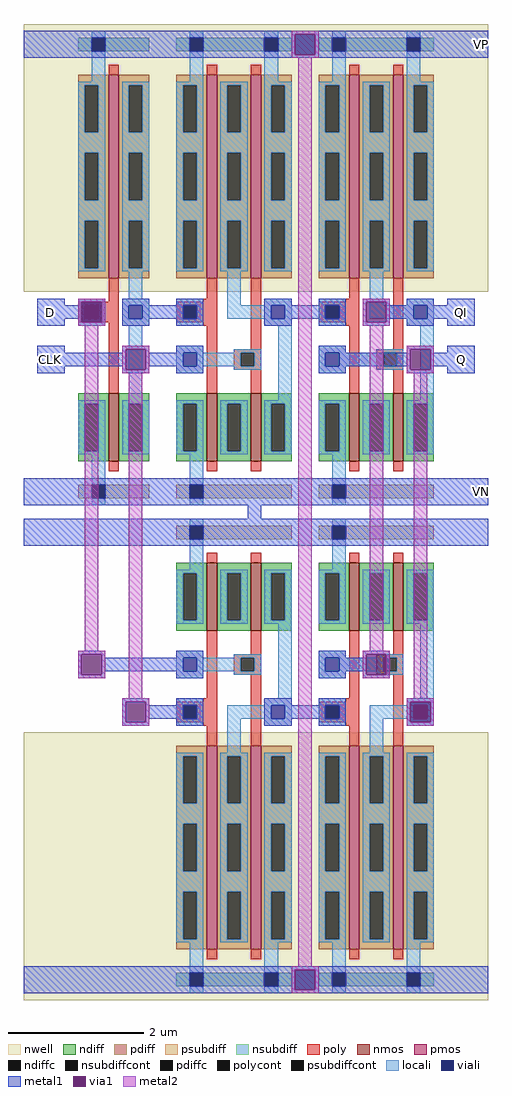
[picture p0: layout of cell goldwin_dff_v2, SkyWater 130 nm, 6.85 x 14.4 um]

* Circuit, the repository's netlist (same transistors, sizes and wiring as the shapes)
* NGSPICE file created from goldwin_dff_v2.ext - technology: sky130A

.subckt goldwin_nand_v2 A B Y VP VN
X0 Y B a_30_0# VN sky130_fd_pr__nfet_01v8 ad=0.45 pd=2.9 as=0.25 ps=1.5 w=1 l=0.15
X1 a_30_0# A VN VN sky130_fd_pr__nfet_01v8 ad=0.25 pd=1.5 as=0.45 ps=2.9 w=1 l=0.15
X2 Y A VP VP sky130_fd_pr__pfet_01v8 ad=0.75 pd=3.5 as=1.35 ps=6.9 w=3 l=0.15
X3 VP B Y VP sky130_fd_pr__pfet_01v8 ad=1.35 pd=6.9 as=0.75 ps=3.5 w=3 l=0.15
.ends

.subckt goldwin_not_v2 A Y VP VN
X0 Y A VN VN sky130_fd_pr__nfet_01v8 ad=0.45 pd=2.9 as=0.45 ps=2.9 w=1 l=0.15
X1 Y A VP VP sky130_fd_pr__pfet_01v8 ad=1.35 pd=6.9 as=1.35 ps=6.9 w=3 l=0.15
.ends

.subckt goldwin_dff_v2 D CLK Q QI VP VN
Xgoldwin_nand_v2_0 goldwin_nand_v2_1/Y QI Q VP VN goldwin_nand_v2
Xgoldwin_nand_v2_1 CLK D goldwin_nand_v2_1/Y VP VN goldwin_nand_v2
Xgoldwin_nand_v2_2 goldwin_nand_v2_3/Y Q QI VP VN goldwin_nand_v2
Xgoldwin_nand_v2_3 goldwin_not_v2_0/Y CLK goldwin_nand_v2_3/Y VP VN goldwin_nand_v2
Xgoldwin_not_v2_0 D goldwin_not_v2_0/Y VP VN goldwin_not_v2
.ends

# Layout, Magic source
magic
tech sky130A
<< nwell >>
rect -60 310 0 705
rect 565 310 625 705
rect -60 -735 145 -340
rect 565 -735 625 -340
<< metal1 >>
rect -60 655 0 695
rect 565 655 625 695
rect -40 290 0 300
rect 440 295 480 300
rect -40 270 20 290
rect -40 260 0 270
rect 125 270 165 290
rect 335 270 375 290
rect 440 265 445 295
rect 475 290 480 295
rect 565 290 605 300
rect 475 270 505 290
rect 545 270 605 290
rect 475 265 480 270
rect 440 260 480 265
rect 565 260 605 270
rect -40 220 0 230
rect 85 225 125 230
rect 85 220 90 225
rect -40 200 90 220
rect -40 190 0 200
rect 85 195 90 200
rect 120 220 125 225
rect 505 225 545 230
rect 505 220 510 225
rect 120 200 165 220
rect 415 200 510 220
rect 120 195 125 200
rect 85 190 125 195
rect 505 195 510 200
rect 540 220 545 225
rect 565 220 605 230
rect 540 200 605 220
rect 540 195 545 200
rect 505 190 545 195
rect 565 190 605 200
rect -60 -5 0 35
rect 270 -25 290 0
rect 565 -5 625 35
rect -60 -65 145 -25
rect 565 -65 625 -25
rect 20 -225 60 -220
rect 20 -255 25 -225
rect 55 -230 60 -225
rect 440 -225 480 -220
rect 440 -230 445 -225
rect 55 -250 165 -230
rect 415 -250 445 -230
rect 55 -255 60 -250
rect 20 -260 60 -255
rect 440 -255 445 -250
rect 475 -255 480 -225
rect 440 -260 480 -255
rect 85 -295 125 -290
rect 85 -325 90 -295
rect 120 -300 125 -295
rect 120 -320 165 -300
rect 335 -320 375 -300
rect 120 -325 125 -320
rect 85 -330 125 -325
rect -60 -725 145 -685
rect 565 -725 625 -685
<< via1 >>
rect 340 660 370 690
rect 25 265 55 295
rect 445 265 475 295
rect 90 195 120 225
rect 510 195 540 225
rect 25 -255 55 -225
rect 445 -255 475 -225
rect 90 -325 120 -295
rect 510 -325 540 -295
rect 340 -720 370 -690
<< metal2 >>
rect 335 690 375 695
rect 335 660 340 690
rect 370 660 375 690
rect 335 655 375 660
rect 20 295 60 300
rect 20 265 25 295
rect 55 265 60 295
rect 20 260 60 265
rect 30 -220 50 260
rect 85 225 125 230
rect 85 195 90 225
rect 120 195 125 225
rect 85 190 125 195
rect 20 -225 60 -220
rect 20 -255 25 -225
rect 55 -255 60 -225
rect 20 -260 60 -255
rect 95 -290 115 190
rect 85 -295 125 -290
rect 85 -325 90 -295
rect 120 -325 125 -295
rect 85 -330 125 -325
rect 345 -685 365 655
rect 440 295 480 300
rect 440 265 445 295
rect 475 265 480 295
rect 440 260 480 265
rect 450 -220 470 260
rect 505 225 545 230
rect 505 195 510 225
rect 540 195 545 225
rect 505 190 545 195
rect 440 -225 480 -220
rect 440 -255 445 -225
rect 475 -255 480 -225
rect 440 -260 480 -255
rect 515 -290 535 190
rect 505 -295 545 -290
rect 505 -325 510 -295
rect 540 -325 545 -295
rect 505 -330 545 -325
rect 335 -690 375 -685
rect 335 -720 340 -690
rect 370 -720 375 -690
rect 335 -725 375 -720
use goldwin_nand_v2  goldwin_nand_v2_0 ../goldwin_nand_v2
transform 1 0 420 0 -1 -90
box -65 -65 145 645
use goldwin_nand_v2  goldwin_nand_v2_1
transform 1 0 210 0 -1 -90
box -65 -65 145 645
use goldwin_nand_v2  goldwin_nand_v2_2
transform 1 0 420 0 1 60
box -65 -65 145 645
use goldwin_nand_v2  goldwin_nand_v2_3
transform 1 0 210 0 1 60
box -65 -65 145 645
use goldwin_not_v2  goldwin_not_v2_0 ../goldwin_not_v2
transform 1 0 65 0 1 60
box -65 -65 80 645
<< labels >>
flabel metal1 -40 260 0 300 1 FreeSans 200 0 0 0 D
port 1 n
flabel metal1 -40 190 0 230 1 FreeSans 200 0 0 0 CLK
port 2 n
flabel metal1 565 260 605 300 1 FreeSans 200 0 0 0 QI
port 4 n
flabel metal1 565 190 605 230 1 FreeSans 200 0 0 0 Q
port 3 n
flabel metal1 605 655 625 695 1 FreeSans 200 0 0 0 VP
port 5 n
flabel metal1 605 -5 625 35 1 FreeSans 200 0 0 0 VN
port 6 n
<< end >>

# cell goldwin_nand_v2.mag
magic
tech sky130A
<< nwell >>
rect -65 250 145 645
<< nmos >>
rect 0 0 15 100
rect 65 0 80 100
<< pmos >>
rect 0 270 15 570
rect 65 270 80 570
<< ndiff >>
rect -45 85 0 100
rect -45 15 -35 85
rect -15 15 0 85
rect -45 0 0 15
rect 15 85 65 100
rect 15 15 30 85
rect 50 15 65 85
rect 15 0 65 15
rect 80 85 125 100
rect 80 15 95 85
rect 115 15 125 85
rect 80 0 125 15
<< pdiff >>
rect -45 555 0 570
rect -45 485 -35 555
rect -15 485 0 555
rect -45 455 0 485
rect -45 385 -35 455
rect -15 385 0 455
rect -45 355 0 385
rect -45 285 -35 355
rect -15 285 0 355
rect -45 270 0 285
rect 15 555 65 570
rect 15 485 30 555
rect 50 485 65 555
rect 15 455 65 485
rect 15 385 30 455
rect 50 385 65 455
rect 15 355 65 385
rect 15 285 30 355
rect 50 285 65 355
rect 15 270 65 285
rect 80 555 125 570
rect 80 485 95 555
rect 115 485 125 555
rect 80 455 125 485
rect 80 385 95 455
rect 115 385 125 455
rect 80 355 125 385
rect 80 285 95 355
rect 115 285 125 355
rect 80 270 125 285
<< ndiffc >>
rect -35 15 -15 85
rect 30 15 50 85
rect 95 15 115 85
<< pdiffc >>
rect -35 485 -15 555
rect -35 385 -15 455
rect -35 285 -15 355
rect 30 485 50 555
rect 30 385 50 455
rect 30 285 50 355
rect 95 485 115 555
rect 95 385 115 455
rect 95 285 115 355
<< psubdiff >>
rect -45 -55 -25 -35
rect -5 -55 125 -35
<< nsubdiff >>
rect -45 605 -25 625
rect -5 605 85 625
rect 105 605 125 625
<< psubdiffcont >>
rect -25 -55 -5 -35
<< nsubdiffcont >>
rect -25 605 -5 625
rect 85 605 105 625
<< poly >>
rect 0 570 15 585
rect 65 570 80 585
rect 0 240 15 270
rect -5 235 15 240
rect -45 230 15 235
rect -45 210 -35 230
rect -15 210 15 230
rect -45 205 15 210
rect -5 200 15 205
rect 0 100 15 200
rect 65 165 80 270
rect 40 160 80 165
rect 40 140 50 160
rect 70 140 80 160
rect 40 135 80 140
rect 65 100 80 135
rect 0 -15 15 0
rect 65 -15 80 0
<< polycont >>
rect -35 210 -15 230
rect 50 140 70 160
<< locali >>
rect -25 625 -5 635
rect -25 560 -5 605
rect 85 625 105 635
rect 85 560 105 605
rect -45 555 -5 560
rect -45 485 -35 555
rect -15 485 -5 555
rect -45 455 -5 485
rect -45 385 -35 455
rect -15 385 -5 455
rect -45 355 -5 385
rect -45 285 -35 355
rect -15 285 -5 355
rect -45 280 -5 285
rect 20 555 60 560
rect 20 485 30 555
rect 50 485 60 555
rect 20 455 60 485
rect 20 385 30 455
rect 50 385 60 455
rect 20 355 60 385
rect 20 285 30 355
rect 50 285 60 355
rect 20 280 60 285
rect 85 555 125 560
rect 85 485 95 555
rect 115 485 125 555
rect 85 455 125 485
rect 85 385 95 455
rect 115 385 125 455
rect 85 355 125 385
rect 85 285 95 355
rect 115 285 125 355
rect 85 280 125 285
rect -45 230 -5 240
rect -45 210 -35 230
rect -15 210 -5 230
rect 30 230 50 280
rect 85 230 125 240
rect 30 210 95 230
rect 115 210 125 230
rect -45 200 -5 210
rect 85 200 125 210
rect -45 160 -5 170
rect 40 160 80 165
rect -45 140 -35 160
rect -15 140 50 160
rect 70 140 80 160
rect -45 130 -5 140
rect 40 135 80 140
rect 105 90 125 200
rect -45 85 -5 90
rect -45 15 -35 85
rect -15 15 -5 85
rect -45 10 -5 15
rect 20 85 60 90
rect 20 15 30 85
rect 50 15 60 85
rect 20 10 60 15
rect 85 85 125 90
rect 85 15 95 85
rect 115 15 125 85
rect 85 10 125 15
rect -25 -35 -5 10
rect -25 -65 -5 -55
<< viali >>
rect -25 605 -5 625
rect 85 605 105 625
rect -35 210 -15 230
rect 95 210 115 230
rect -35 140 -15 160
rect -25 -55 -5 -35
<< metal1 >>
rect -65 625 145 635
rect -65 605 -25 625
rect -5 605 85 625
rect 105 605 145 625
rect -65 595 145 605
rect -45 230 -5 240
rect -45 210 -35 230
rect -15 210 -5 230
rect -45 200 -5 210
rect 85 230 125 240
rect 85 210 95 230
rect 115 210 125 230
rect 85 200 125 210
rect -45 160 -5 170
rect -45 140 -35 160
rect -15 140 -5 160
rect -45 130 -5 140
rect -65 -35 145 -25
rect -65 -55 -25 -35
rect -5 -55 145 -35
rect -65 -65 145 -55
<< labels >>
flabel metal1 125 595 145 625 1 FreeSans 200 0 0 -120 VP
port 4 n
flabel metal1 125 -55 145 -25 1 FreeSans 200 0 0 -120 VN
port 5 n
flabel metal1 85 200 125 240 1 FreeSans 200 0 0 -120 Y
port 3 n
flabel metal1 -45 200 -5 240 1 FreeSans 200 0 0 -120 A
port 1 n
flabel metal1 -45 130 -5 170 1 FreeSans 200 0 0 -120 B
port 2 n
<< end >>

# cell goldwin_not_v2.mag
magic
tech sky130A
<< nwell >>
rect -65 250 80 645
<< nmos >>
rect 0 0 15 100
<< pmos >>
rect 0 270 15 570
<< ndiff >>
rect -45 85 0 100
rect -45 15 -35 85
rect -15 15 0 85
rect -45 0 0 15
rect 15 85 60 100
rect 15 15 30 85
rect 50 15 60 85
rect 15 0 60 15
<< pdiff >>
rect -45 555 0 570
rect -45 485 -35 555
rect -15 485 0 555
rect -45 455 0 485
rect -45 385 -35 455
rect -15 385 0 455
rect -45 355 0 385
rect -45 285 -35 355
rect -15 285 0 355
rect -45 270 0 285
rect 15 555 60 570
rect 15 485 30 555
rect 50 485 60 555
rect 15 455 60 485
rect 15 385 30 455
rect 50 385 60 455
rect 15 355 60 385
rect 15 285 30 355
rect 50 285 60 355
rect 15 270 60 285
<< ndiffc >>
rect -35 15 -15 85
rect 30 15 50 85
<< pdiffc >>
rect -35 485 -15 555
rect -35 385 -15 455
rect -35 285 -15 355
rect 30 485 50 555
rect 30 385 50 455
rect 30 285 50 355
<< psubdiff >>
rect -45 -55 -25 -35
rect -5 -55 60 -35
<< nsubdiff >>
rect -45 605 -25 625
rect -5 605 60 625
<< psubdiffcont >>
rect -25 -55 -5 -35
<< nsubdiffcont >>
rect -25 605 -5 625
<< poly >>
rect 0 570 15 585
rect 0 235 15 270
rect -45 230 15 235
rect -45 210 -35 230
rect -15 210 15 230
rect -45 205 15 210
rect 0 100 15 205
rect 0 -15 15 0
<< polycont >>
rect -35 210 -15 230
<< locali >>
rect -25 625 -5 635
rect -25 560 -5 605
rect -45 555 -5 560
rect -45 485 -35 555
rect -15 485 -5 555
rect -45 455 -5 485
rect -45 385 -35 455
rect -15 385 -5 455
rect -45 355 -5 385
rect -45 285 -35 355
rect -15 285 -5 355
rect -45 280 -5 285
rect 20 555 60 560
rect 20 485 30 555
rect 50 485 60 555
rect 20 455 60 485
rect 20 385 30 455
rect 50 385 60 455
rect 20 355 60 385
rect 20 285 30 355
rect 50 285 60 355
rect 20 280 60 285
rect 30 240 50 280
rect -45 230 -5 240
rect -45 210 -35 230
rect -15 210 -5 230
rect -45 200 -5 210
rect 20 230 60 240
rect 20 210 30 230
rect 50 210 60 230
rect 20 200 60 210
rect 30 90 50 200
rect -45 85 -5 90
rect -45 15 -35 85
rect -15 15 -5 85
rect -45 10 -5 15
rect 20 85 60 90
rect 20 15 30 85
rect 50 15 60 85
rect 20 10 60 15
rect -25 -35 -5 10
rect -25 -65 -5 -55
<< viali >>
rect -25 605 -5 625
rect -35 210 -15 230
rect 30 210 50 230
rect -25 -55 -5 -35
<< metal1 >>
rect -65 625 80 635
rect -65 605 -25 625
rect -5 605 80 625
rect -65 595 80 605
rect -45 230 -5 240
rect -45 210 -35 230
rect -15 210 -5 230
rect -45 200 -5 210
rect 20 230 60 240
rect 20 210 30 230
rect 50 210 60 230
rect 20 200 60 210
rect -65 -35 80 -25
rect -65 -55 -25 -35
rect -5 -55 80 -35
rect -65 -65 80 -55
<< labels >>
flabel metal1 60 -65 80 -25 1 FreeSans 200 0 0 0 VN
port 4 n
flabel metal1 60 595 80 635 1 FreeSans 200 0 0 0 VP
port 3 n
flabel metal1 20 200 60 240 1 FreeSans 200 0 0 -120 Y
port 2 n
flabel metal1 -45 200 -5 240 1 FreeSans 200 0 0 -120 A
port 1 n
<< end >>
